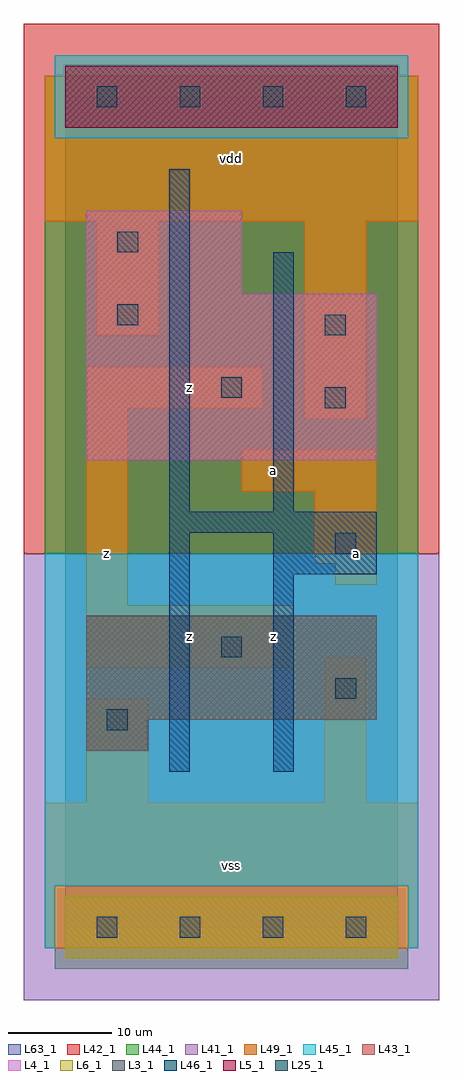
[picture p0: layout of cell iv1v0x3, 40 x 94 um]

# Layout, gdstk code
import gdstk
lib = gdstk.Library(unit=1e-6, precision=1e-09)
def R(c, l, rs):  # rectangles x0, y0, x1, y1
    for r in rs: c.add(gdstk.rectangle(r[:2], r[2:], *l))
def A(c, l, x, y, w, h, nx, ny, dx, dy):  # array of equal rectangles
    R(c, l, [(x+i*dx, y+j*dy, x+i*dx+w, y+j*dy+h) for i in range(nx) for j in range(ny)])
L3_1 = (3, 1)
L4_1 = (4, 1)
L5_1 = (5, 1)
L6_1 = (6, 1)
L25_1 = (25, 1)
L41_1 = (41, 1)
L42_1 = (42, 1)
L43_1 = (43, 1)
L44_1 = (44, 1)
L45_1 = (45, 1)
L46_1 = (46, 1)
L49_1 = (49, 1)
L63_1 = (63, 1)

iv1v0x3 = lib.new_cell('iv1v0x3')
R(iv1v0x3, L3_1, [(2,17,8,20), (2,20,30,30)])
R(iv1v0x3, L4_1, [(2,45,30,61), (2,61,17,69)])
R(iv1v0x3, L5_1, [(0,77,32,83)])
R(iv1v0x3, L6_1, [(0,-3,32,3), (0,-3,32,3)])
A(iv1v0x3, L25_1, 3, -1, 2, 2, 4, 2, 8, 80)
R(iv1v0x3, L25_1, [(4,19,6,21), (26,22,28,24), (15,26,17,28), (26,36,28,38), (25,50,27,52), (15,51,17,53), (25,57,27,59), (5,58,7,60), (5,65,7,67)])
R(iv1v0x3, L41_1, [(-4,-7,36,36)])
R(iv1v0x3, L42_1, [(-4,36,36,87)])
R(iv1v0x3, L43_1, [(0,-3,32,3), (2,17,8,20), (2,20,30,30), (2,45,30,61), (2,61,17,69), (0,77,32,83)])
R(iv1v0x3, L44_1, [(-1,-4,33,4), (-2,36,34,76), (-2,76,-1,82), (33,76,34,82)])
R(iv1v0x3, L45_1, [(-2,-2,-1,4), (33,-2,34,4), (-2,4,34,36), (-1,76,33,84)])
R(iv1v0x3, L46_1, [(10,15,12,38), (20,15,22,34), (20,34,30,38), (10,38,30,40), (10,40,12,73), (20,40,22,65)])
R(iv1v0x3, L49_1, [(-2,-2,34,12), (2,12,8,22), (25,12,29,26), (2,25,22,31), (2,31,6,50), (26,33,30,35), (24,35,30,42), (17,42,30,46), (23,49,29,68), (2,50,19,54), (3,57,9,68), (-2,68,34,82)])
R(iv1v0x3, L63_1, [(0,0,32,80)])
iv1v0x3.add(gdstk.Label('z', (4,36), layer=49, texttype=1))
iv1v0x3.add(gdstk.Label('z', (12,28), layer=49, texttype=1))
iv1v0x3.add(gdstk.Label('z', (12,52), layer=49, texttype=1))
iv1v0x3.add(gdstk.Label('vss', (16,6), layer=49, texttype=1))
iv1v0x3.add(gdstk.Label('z', (20,28), layer=49, texttype=1))
iv1v0x3.add(gdstk.Label('a', (20,44), layer=49, texttype=1))
iv1v0x3.add(gdstk.Label('vdd', (16,74), layer=49, texttype=1))
iv1v0x3.add(gdstk.Label('a', (28,36), layer=49, texttype=1))

lib.write_gds('iv1v0x3.gds')
